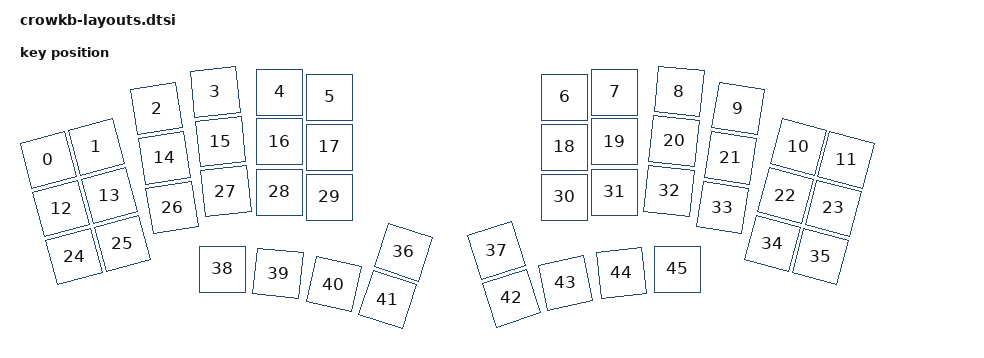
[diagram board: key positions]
#include <physical_layouts.dtsi>

/ {
    chosen {
        zmk,physical-layout = &default_layout;
    };

    default_layout: default_layout {
        compatible = "zmk,physical-layout";
        display-name = "Default";

        transform = <&default_transform>;

        keys  //                     w   h    x    y     rot    rx    ry
            = <&key_physical_attrs 100 100    0    0 (-1500)   890     0>
            , <&key_physical_attrs 100 100  100    0 (-1500)   890     0>
            , <&key_physical_attrs 100 100  240   20  (-900)   890     0>
            , <&key_physical_attrs 100 100  365   30  (-600)   890     0>
            , <&key_physical_attrs 100 100  505   80       0     0     0>
            , <&key_physical_attrs 100 100  605   90       0     0     0>
            , <&key_physical_attrs 100 100 1075   90       0     0     0>
            , <&key_physical_attrs 100 100 1175   80       0     0     0>
            , <&key_physical_attrs 100 100 1315   29     600   890     0>
            , <&key_physical_attrs 100 100 1440   20     900   890     0>
            , <&key_physical_attrs 100 100 1580    0    1500   890     0>
            , <&key_physical_attrs 100 100 1679    0    1500   890     0>
            , <&key_physical_attrs 100 100    0  100 (-1500)   890     0>
            , <&key_physical_attrs 100 100  100  100 (-1500)   890     0>
            , <&key_physical_attrs 100 100  240  120  (-900)   890     0>
            , <&key_physical_attrs 100 100  365  130  (-600)   890     0>
            , <&key_physical_attrs 100 100  505  179       0     0     0>
            , <&key_physical_attrs 100 100  605  190       0     0     0>
            , <&key_physical_attrs 100 100 1075  190       0     0     0>
            , <&key_physical_attrs 100 100 1175  179       0     0     0>
            , <&key_physical_attrs 100 100 1315  129     600   890     0>
            , <&key_physical_attrs 100 100 1440  120     900   890     0>
            , <&key_physical_attrs 100 100 1580  100    1500   890     0>
            , <&key_physical_attrs 100 100 1679  100    1500   890     0>
            , <&key_physical_attrs 100 100    0  200 (-1500)   890     0>
            , <&key_physical_attrs 100 100  100  200 (-1500)   890     0>
            , <&key_physical_attrs 100 100  240  220  (-900)   890     0>
            , <&key_physical_attrs 100 100  365  230  (-600)   890     0>
            , <&key_physical_attrs 100 100  505  280       0     0     0>
            , <&key_physical_attrs 100 100  605  290       0     0     0>
            , <&key_physical_attrs 100 100 1075  290       0     0     0>
            , <&key_physical_attrs 100 100 1175  280       0     0     0>
            , <&key_physical_attrs 100 100 1315  229     600   890     0>
            , <&key_physical_attrs 100 100 1440  220     900   890     0>
            , <&key_physical_attrs 100 100 1580  200    1500   890     0>
            , <&key_physical_attrs 100 100 1679  200    1500   890     0>
            , <&key_physical_attrs 100 100  895  405    1800   890     0>
            , <&key_physical_attrs 100 100  795  405 (-1800)   890     0>
            , <&key_physical_attrs 100 100  390  434       0     0     0>
            , <&key_physical_attrs 100 100  555  475     600   890     0>
            , <&key_physical_attrs 100 100  725  500    1200   890     0>
            , <&key_physical_attrs 100 100  895  505    1800   890     0>
            , <&key_physical_attrs 100 100  795  505 (-1800)   890     0>
            , <&key_physical_attrs 100 100  965  500 (-1200)   890     0>
            , <&key_physical_attrs 100 100 1135  475  (-600)   890     0>
            , <&key_physical_attrs 100 100 1300  434       0     0     0>
            ;
    };
};

